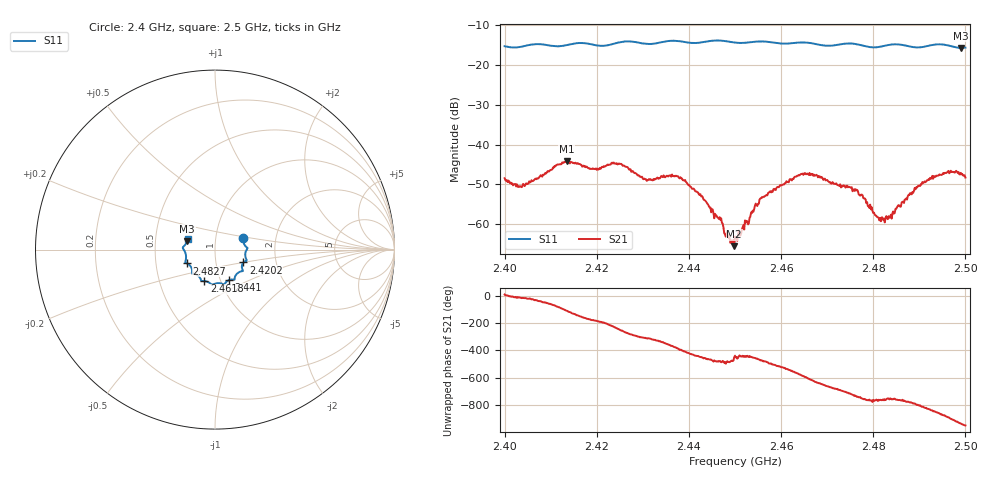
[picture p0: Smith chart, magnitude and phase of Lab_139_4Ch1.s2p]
# Hz S RI R 50
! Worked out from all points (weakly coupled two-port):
!   601 points, 2.4 GHz to 2.5 GHz, reference 50 ohm
!   highest |S21| = -44.25 dB at 2.4135 GHz (marker M1); lowest = -65.5 dB at 2.4498 GHz (marker M2)
!   lowest |S11| = -15.8 dB at 2.499 GHz (marker M3), VSWR 1.39, Z = 36.4 + j3.45 ohm
!   |S11| at or under -10 dB: start of sweep to end of sweep
!   S12 and S22 are empty: the file has one direction only
!   S11 on the Smith chart (normalised r, x): 2.4 GHz: 1.36, +0.18; 2.4202 GHz: 1.36, -0.20; 2.441 GHz: 1.10, -0.39; 2.4618 GHz: 0.84, -0.30; 2.4827 GHz: 0.72, -0.12; 2.5 GHz: 0.73, +0.09
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2.4e9  0.1586 0.0627  0.00375 0.000513  0 0  0 0
2.403333e9  0.1652 0.0255  0.00291 -0.000689  0 0  0 0
2.4135e9  0.1707 -0.0446  -0.00216 -0.00573  0 0  0 0
2.416667e9  0.1771 -0.0609  -0.005 -0.00245  0 0  0 0
2.420167e9  0.1588 -0.0715  -0.00496 0.000614  0 0  0 0
2.424833e9  0.1535 -0.1125  -0.00233 0.0053  0 0  0 0
2.4305e9  0.1318 -0.1271  0.00226 0.0029  0 0  0 0
2.433333e9  0.1116 -0.1508  0.00319 0.00191  0 0  0 0
2.437167e9  0.1073 -0.1681  0.00379 -0.00129  0 0  0 0
2.441e9  0.0787 -0.1698  0.000847 -0.00267  0 0  0 0
2.449833e9  0.0305 -0.1877  8.55e-07 -0.000532  0 0  0 0
2.45e9  0.0289 -0.1874  0.000137 -0.000689  0 0  0 0
2.455833e9  -0.0156 -0.1955  -0.00093 -0.00198  0 0  0 0
2.461833e9  -0.0591 -0.1753  -0.00364 0.00024  0 0  0 0
2.466667e9  -0.0787 -0.1683  -0.000954 0.00409  0 0  0 0
2.476167e9  -0.1276 -0.1296  0.00267 -0.000682  0 0  0 0
2.480833e9  -0.1408 -0.0875  0.000893 -0.000851  0 0  0 0
2.482667e9  -0.1559 -0.0772  0.000885 -0.000814  0 0  0 0
2.483333e9  -0.1603 -0.075  0.00107 -0.000673  0 0  0 0
2.492333e9  -0.1748 0.000551  -0.0014 -0.00356  0 0  0 0
2.499e9  -0.1557 0.0461  -0.00365 0.00248  0 0  0 0
2.5e9  -0.1522 0.0604  -0.00257 0.00288  0 0  0 0
